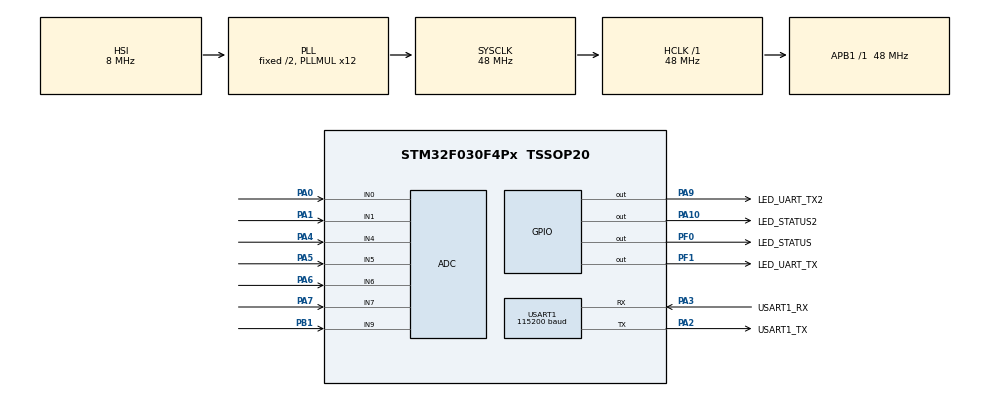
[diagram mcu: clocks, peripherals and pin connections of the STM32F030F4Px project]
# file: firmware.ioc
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ADC.ClockPrescaler=ADC_CLOCK_ASYNC
ADC.ContinuousConvMode=ENABLE
ADC.DMAContinuousRequests=ENABLE
ADC.DataAlign=ADC_DATAALIGN_RIGHT
ADC.DiscontinuousConvMode=DISABLE
ADC.EOCSelection=EOC_SINGLE_CONV
ADC.EnableAnalogWatchDog=false
ADC.ExternalTrigConvEdge=ADC_EXTERNALTRIGCONVEDGE_NONE
ADC.LowPowerAutoPowerOff=DISABLE
ADC.LowPowerAutoWait=DISABLE
ADC.Overrun=OVR_DATA_PRESERVED
ADC.Resolution=ADC_RESOLUTION12b
ADC.SamplingTime=ADC_SAMPLETIME_71CYCLES_5
ADC.ScanConvMode=ADC_SCAN_DIRECTION_FORWARD
Dma.ADC.0.Direction=DMA_PERIPH_TO_MEMORY
Dma.ADC.0.Instance=DMA1_Channel1
Dma.ADC.0.MemDataAlignment=DMA_MDATAALIGN_HALFWORD
Dma.ADC.0.MemInc=DMA_MINC_ENABLE
Dma.ADC.0.Mode=DMA_CIRCULAR
Dma.ADC.0.PeriphDataAlignment=DMA_PDATAALIGN_HALFWORD
Dma.ADC.0.PeriphInc=DMA_PINC_DISABLE
Dma.ADC.0.Priority=DMA_PRIORITY_LOW
Dma.Request0=ADC
Mcu.Family=STM32F0
Mcu.Name=STM32F030F4Px
Mcu.Package=TSSOP20
NVIC.DMA1_Channel1_IRQn=true\:0\:0\:false
PA0.Mode=IN0
PA0.Signal=ADC_IN0
PA1.Mode=IN1
PA1.Signal=ADC_IN1
PA10.GPIO_Label=LED_STATUS2
PA10.Signal=GPIO_Output
PA13.Mode=Serial-WireDebug
PA13.Signal=SYS_SWDIO
PA14.Mode=Serial-WireDebug
PA14.Signal=SYS_SWCLK
PA2.GPIO_Label=USART1_TX
PA2.Mode=Asynchronous
PA2.Signal=USART1_TX
PA3.GPIO_Label=USART1_RX
PA3.Mode=Asynchronous
PA3.Signal=USART1_RX
PA4.Mode=IN4
PA4.Signal=ADC_IN4
PA5.Mode=IN5
PA5.Signal=ADC_IN5
PA6.Mode=IN6
PA6.Signal=ADC_IN6
PA7.Mode=IN7
PA7.Signal=ADC_IN7
PA9.GPIO_Label=LED_UART_TX2
PA9.Signal=GPIO_Output
PB1.Mode=IN9
PB1.Signal=ADC_IN9
PF0-OSC_IN.GPIO_Label=LED_STATUS
PF0-OSC_IN.Signal=GPIO_Output
PF1-OSC_OUT.GPIO_Label=LED_UART_TX
PF1-OSC_OUT.Signal=GPIO_Output
ProjectManager.TargetToolchain=SW4STM32
RCC.AHBFreq_Value=48000000
RCC.APB1Freq_Value=48000000
RCC.APB1TimFreq_Value=48000000
RCC.HCLKFreq_Value=48000000
RCC.HSE_VALUE=16000000
RCC.PLLMUL=RCC_PLL_MUL12
RCC.SYSCLKFreq_VALUE=48000000
RCC.SYSCLKSource=RCC_SYSCLKSOURCE_PLLCLK
USART1.BaudRate=115200
USART1.OverSampling=UART_OVERSAMPLING_16
USART1.OverrunDisableParam=UART_ADVFEATURE_OVERRUN_ENABLE
VP_ADC_TempSens_Input.Mode=IN-TempSens
board=firmware

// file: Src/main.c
/**
  ******************************************************************************
  * File Name          : main.c
  * Description        : Main program body
  ******************************************************************************
  *
  * COPYRIGHT(c) 2016 STMicroelectronics
  *
  * Redistribution and use in source and binary forms, with or without modification,
  * are permitted provided that the following conditions are met:
  *   1. Redistributions of source code must retain the above copyright notice,
  *      this list of conditions and the following disclaimer.
  *   2. Redistributions in binary form must reproduce the above copyright notice,
  *      this list of conditions and the following disclaimer in the documentation
  *      and/or other materials provided with the distribution.
  *   3. Neither the name of STMicroelectronics nor the names of its contributors
  *      may be used to endorse or promote products derived from this software
  *      without specific prior written permission.
  *
  * THIS SOFTWARE IS PROVIDED BY THE COPYRIGHT HOLDERS AND CONTRIBUTORS "AS IS"
  * AND ANY EXPRESS OR IMPLIED WARRANTIES, INCLUDING, BUT NOT LIMITED TO, THE
  * IMPLIED WARRANTIES OF MERCHANTABILITY AND FITNESS FOR A PARTICULAR PURPOSE ARE
  * DISCLAIMED. IN NO EVENT SHALL THE COPYRIGHT HOLDER OR CONTRIBUTORS BE LIABLE
  * FOR ANY DIRECT, INDIRECT, INCIDENTAL, SPECIAL, EXEMPLARY, OR CONSEQUENTIAL
  * DAMAGES (INCLUDING, BUT NOT LIMITED TO, PROCUREMENT OF SUBSTITUTE GOODS OR
  * SERVICES; LOSS OF USE, DATA, OR PROFITS; OR BUSINESS INTERRUPTION) HOWEVER
  * CAUSED AND ON ANY THEORY OF LIABILITY, WHETHER IN CONTRACT, STRICT LIABILITY,
  * OR TORT (INCLUDING NEGLIGENCE OR OTHERWISE) ARISING IN ANY WAY OUT OF THE USE
  * OF THIS SOFTWARE, EVEN IF ADVISED OF THE POSSIBILITY OF SUCH DAMAGE.
  *
  ******************************************************************************
  */
#include "stm32f0xx_hal.h"

/* USER CODE BEGIN Includes */

#ifndef MY_ID
#	error MY_ID is not defined. MY_ID can be defined via CFLAGS, for example "CFLAGS='-DMY_ID=1' make"
#endif

#define CHANNELS 8

typedef uint16_t dataitem_t;

dataitem_t adc_raw[CHANNELS];
uint32_t adc[CHANNELS];

struct sensorcommand {
	dataitem_t      command_id;
	dataitem_t       sensor_id;
	dataitem_t      channels;
	dataitem_t      channel[CHANNELS];
};
typedef struct sensorcommand sensorcommand_t;

struct collectorcommand {
	dataitem_t      command_id;
	dataitem_t       sensor_id;
};
typedef struct collectorcommand collectorcommand_t;

enum command_id {
	CMD_GETDATA = 1,
	CMD_SETDATA = 2,
};

/* USER CODE END Includes */

ADC_HandleTypeDef hadc;
DMA_HandleTypeDef hdma_adc;

UART_HandleTypeDef huart1;

/* USER CODE BEGIN PV */
/* Private variables ---------------------------------------------------------*/

/* USER CODE END PV */

void SystemClock_Config(void);
static void MX_GPIO_Init(void);
static void MX_DMA_Init(void);
static void MX_ADC_Init(void);
static void MX_USART1_UART_Init(void);

/* USER CODE BEGIN PFP */
/* Private function prototypes -----------------------------------------------*/

#define HAL_Delay(a) HAL_Delay_my(a)

void HAL_Delay_my(uint32_t msec)
{
	while (msec--) {
		volatile int i;
		i=0; while(i++ < 350);
	}
}

void error (float error_num, char infinite)
{
	int i=0;
	while (i++ < error_num) {
		LED_STATUS_GPIO_Port->BSRR = LED_STATUS_Pin;
		HAL_Delay(300);
		LED_STATUS_GPIO_Port->BSRR = LED_STATUS_Pin << 16;
		HAL_Delay(200);
	}

	HAL_Delay(500);
	NVIC_SystemReset();

	return;
}

void blink(int times, int delay)
{
	int i = 0;
	while (i++ < times) {
		LED_STATUS_GPIO_Port->BSRR = LED_STATUS_Pin;
		HAL_Delay(delay);
		LED_STATUS_GPIO_Port->BSRR = LED_STATUS_Pin << 16;
		HAL_Delay(delay);
	}

	return;
}

/*
void HAL_ADC_ConvCpltCallback(ADC_HandleTypeDef* hadc)
{
}
*/

/* USER CODE END PFP */

int main(void)
{

  /* USER CODE BEGIN 1 */
	sensorcommand_t scmd;

  /* USER CODE END 1 */

  /* MCU Configuration----------------------------------------------------------*/

  /* Reset of all peripherals, Initializes the Flash interface and the Systick. */
  HAL_Init();

  /* Configure the system clock */
  SystemClock_Config();

  /* Initialize all configured peripherals */
  MX_GPIO_Init();
  MX_DMA_Init();
  MX_ADC_Init();
  MX_USART1_UART_Init();

  /* USER CODE BEGIN 2 */
	blink(1, 50);

#define ADC_DMA
#ifdef ADC_DMA
	{
		//HAL_ADC_Stop_DMA(&hadc);
		//HAL_ADC_Stop(&hadc);
		LED_STATUS_GPIO_Port->BSRR = LED_STATUS_Pin;
		int r = HAL_ADC_Start_DMA(&hadc, (uint32_t *)adc_raw, sizeof(adc)/sizeof(*adc));
		LED_STATUS_GPIO_Port->BSRR = LED_STATUS_Pin << 16;

		(void)r; // anti-warning
#	ifdef RESET_ON_DMA_ERROR
		if (r != HAL_OK)
			error(1+r, 0);
#	endif
	}
#else
	LED_STATUS_GPIO_Port->BSRR = LED_STATUS_Pin;
	int r = HAL_ADC_Start();
	LED_STATUS_GPIO_Port->BSRR = LED_STATUS_Pin << 16;

	(void)r; // anti-warning
#	ifdef RESET_ON_DMA_ERROR
	if (r != HAL_OK)
		error(1+r, 0);
#	endif

#	error is not implemented, yet
#endif

	scmd.command_id = CMD_SETDATA;
	scmd.sensor_id  = MY_ID;
	scmd.channels   = CHANNELS;

	LED_UART_TX_GPIO_Port->BSRR = LED_UART_TX_Pin;
	while(1) {
		//blink(1, 50);

		// Receiving command
		{
			//LED_STATUS_GPIO_Port->BSRR = LED_STATUS_Pin;
			collectorcommand_t ccmd;

			{
				int r = HAL_UART_Receive(&huart1, (uint8_t *)&ccmd, sizeof(ccmd), ~0);
				if (r != HAL_OK)
					error(1+r, 0);

				//while (!received);
			}

			if (ccmd.command_id != CMD_GETDATA)
				error(1, 0);

			if (ccmd.sensor_id  != MY_ID)
				continue;

			//LED_STATUS_GPIO_Port->BSRR = LED_STATUS_Pin << 16;
		}

		// Sending command
		{
			LED_UART_TX_GPIO_Port->BSRR = LED_UART_TX_Pin;

			int r;
			do {
				r = HAL_UART_Transmit(&huart1, (uint8_t *)&scmd, sizeof(scmd), ~0);
				switch (r) {
					case HAL_OK:
						break;
					case HAL_BUSY:
						blink(2, 200);
						blink(2, 100);
						blink(2, 50);
						break;
					default:
						error(1+r, 0);
				}
			} while (r == HAL_BUSY);

			LED_UART_TX_GPIO_Port->BSRR = LED_UART_TX_Pin << 16;

#ifdef ADC_DMA
			//LED_STATUS_GPIO_Port->BSRR = LED_STATUS_Pin;
			//HAL_ADC_Start_DMA(&hadc, (uint32_t *)&scmd.channel, sizeof(scmd.channel)/sizeof(*scmd.channel));
			//LED_STATUS_GPIO_Port->BSRR = LED_STATUS_Pin << 16;
#endif
		}
	}

  /* USER CODE END 2 */

  /* Infinite loop */

}

/** System Clock Configuration
*/
void SystemClock_Config(void)
{

  RCC_OscInitTypeDef RCC_OscInitStruct;
  RCC_ClkInitTypeDef RCC_ClkInitStruct;
  RCC_PeriphCLKInitTypeDef PeriphClkInit;

  RCC_OscInitStruct.OscillatorType = RCC_OSCILLATORTYPE_HSI|RCC_OSCILLATORTYPE_HSI14;
  RCC_OscInitStruct.HSIState = RCC_HSI_ON;
  RCC_OscInitStruct.HSI14State = RCC_HSI14_ON;
  RCC_OscInitStruct.HSICalibrationValue = 16;
  RCC_OscInitStruct.HSI14CalibrationValue = 16;
  RCC_OscInitStruct.PLL.PLLState = RCC_PLL_ON;
  RCC_OscInitStruct.PLL.PLLSource = RCC_PLLSOURCE_HSI;
  RCC_OscInitStruct.PLL.PLLMUL = RCC_PLL_MUL12;
  RCC_OscInitStruct.PLL.PREDIV = RCC_PREDIV_DIV1;
  HAL_RCC_OscConfig(&RCC_OscInitStruct);

  RCC_ClkInitStruct.ClockType = RCC_CLOCKTYPE_SYSCLK;
  RCC_ClkInitStruct.SYSCLKSource = RCC_SYSCLKSOURCE_PLLCLK;
  RCC_ClkInitStruct.AHBCLKDivider = RCC_SYSCLK_DIV1;
  RCC_ClkInitStruct.APB1CLKDivider = RCC_HCLK_DIV1;
  HAL_RCC_ClockConfig(&RCC_ClkInitStruct, FLASH_LATENCY_1);

  PeriphClkInit.PeriphClockSelection = RCC_PERIPHCLK_USART1;
  PeriphClkInit.Usart1ClockSelection = RCC_USART1CLKSOURCE_PCLK1;
  HAL_RCCEx_PeriphCLKConfig(&PeriphClkInit);

  HAL_SYSTICK_Config(HAL_RCC_GetHCLKFreq()/1000);

  HAL_SYSTICK_CLKSourceConfig(SYSTICK_CLKSOURCE_HCLK);

  /* SysTick_IRQn interrupt configuration */
  HAL_NVIC_SetPriority(SysTick_IRQn, 0, 0);
}

/* ADC init function */
void MX_ADC_Init(void)
{

  ADC_ChannelConfTypeDef sConfig;

    /**Configure the global features of the ADC (Clock, Resolution, Data Alignment and number of conversion)
    */
  hadc.Instance = ADC1;
  hadc.Init.ClockPrescaler = ADC_CLOCK_ASYNC;
  hadc.Init.Resolution = ADC_RESOLUTION12b;
  hadc.Init.DataAlign = ADC_DATAALIGN_RIGHT;
  hadc.Init.ScanConvMode = ADC_SCAN_DIRECTION_FORWARD;
  hadc.Init.EOCSelection = EOC_SINGLE_CONV;
  hadc.Init.LowPowerAutoWait = DISABLE;
  hadc.Init.LowPowerAutoPowerOff = DISABLE;
  hadc.Init.ContinuousConvMode = ENABLE;
  hadc.Init.DiscontinuousConvMode = DISABLE;
  hadc.Init.ExternalTrigConvEdge = ADC_EXTERNALTRIGCONVEDGE_NONE;
  hadc.Init.DMAContinuousRequests = ENABLE;
  hadc.Init.Overrun = OVR_DATA_PRESERVED;
  HAL_ADC_Init(&hadc);

    /**Configure for the selected ADC regular channel to be converted.
    */
  sConfig.Channel = ADC_CHANNEL_0;
  sConfig.Rank = ADC_RANK_CHANNEL_NUMBER;
  sConfig.SamplingTime = ADC_SAMPLETIME_71CYCLES_5;
  HAL_ADC_ConfigChannel(&hadc, &sConfig);

    /**Configure for the selected ADC regular channel to be converted.
    */
  sConfig.Channel = ADC_CHANNEL_1;
  HAL_ADC_ConfigChannel(&hadc, &sConfig);

    /**Configure for the selected ADC regular channel to be converted.
    */
  sConfig.Channel = ADC_CHANNEL_4;
  HAL_ADC_ConfigChannel(&hadc, &sConfig);

    /**Configure for the selected ADC regular channel to be converted.
    */
  sConfig.Channel = ADC_CHANNEL_5;
  HAL_ADC_ConfigChannel(&hadc, &sConfig);

    /**Configure for the selected ADC regular channel to be converted.
    */
  sConfig.Channel = ADC_CHANNEL_6;
  HAL_ADC_ConfigChannel(&hadc, &sConfig);

    /**Configure for the selected ADC regular channel to be converted.
    */
  sConfig.Channel = ADC_CHANNEL_7;
  HAL_ADC_ConfigChannel(&hadc, &sConfig);

    /**Configure for the selected ADC regular channel to be converted.
    */
  sConfig.Channel = ADC_CHANNEL_9;
  HAL_ADC_ConfigChannel(&hadc, &sConfig);

    /**Configure for the selected ADC regular channel to be converted.
    */
  sConfig.Channel = ADC_CHANNEL_TEMPSENSOR;
  HAL_ADC_ConfigChannel(&hadc, &sConfig);

}

/* USART1 init function */
void MX_USART1_UART_Init(void)
{

  huart1.Instance = USART1;
  huart1.Init.BaudRate = 115200;
  huart1.Init.WordLength = UART_WORDLENGTH_8B;
  huart1.Init.StopBits = UART_STOPBITS_1;
  huart1.Init.Parity = UART_PARITY_NONE;
  huart1.Init.Mode = UART_MODE_TX_RX;
  huart1.Init.HwFlowCtl = UART_HWCONTROL_NONE;
  huart1.Init.OverSampling = UART_OVERSAMPLING_16;
  huart1.Init.OneBitSampling = UART_ONEBIT_SAMPLING_DISABLED ;
  huart1.AdvancedInit.AdvFeatureInit = UART_ADVFEATURE_NO_INIT;
  HAL_UART_Init(&huart1);

}

void MX_DMA_Init(void)
{
  /* DMA controller clock enable */
  __DMA1_CLK_ENABLE();

  /* DMA interrupt init */
  HAL_NVIC_SetPriority(DMA1_Channel1_IRQn, 0, 0);
  HAL_NVIC_EnableIRQ(DMA1_Channel1_IRQn);

}

/** Configure pins as
        * Analog
        * Input
        * Output
        * EVENT_OUT
        * EXTI
*/
void MX_GPIO_Init(void)
{

  GPIO_InitTypeDef GPIO_InitStruct;

  /* GPIO Ports Clock Enable */
  __GPIOF_CLK_ENABLE();
  __GPIOA_CLK_ENABLE();
  __GPIOB_CLK_ENABLE();

  /*Configure GPIO pins : LED_STATUS_Pin LED_UART_TX_Pin */
  GPIO_InitStruct.Pin = LED_STATUS_Pin|LED_UART_TX_Pin;
  GPIO_InitStruct.Mode = GPIO_MODE_OUTPUT_PP;
  GPIO_InitStruct.Pull = GPIO_NOPULL;
  GPIO_InitStruct.Speed = GPIO_SPEED_LOW;
  HAL_GPIO_Init(GPIOF, &GPIO_InitStruct);

  /*Configure GPIO pins : LED_UART_TX2_Pin LED_STATUS2_Pin */
  GPIO_InitStruct.Pin = LED_UART_TX2_Pin|LED_STATUS2_Pin;
  GPIO_InitStruct.Mode = GPIO_MODE_OUTPUT_PP;
  GPIO_InitStruct.Pull = GPIO_NOPULL;
  GPIO_InitStruct.Speed = GPIO_SPEED_LOW;
  HAL_GPIO_Init(GPIOA, &GPIO_InitStruct);

}

/************************ (C) COPYRIGHT STMicroelectronics *****END OF FILE****/
